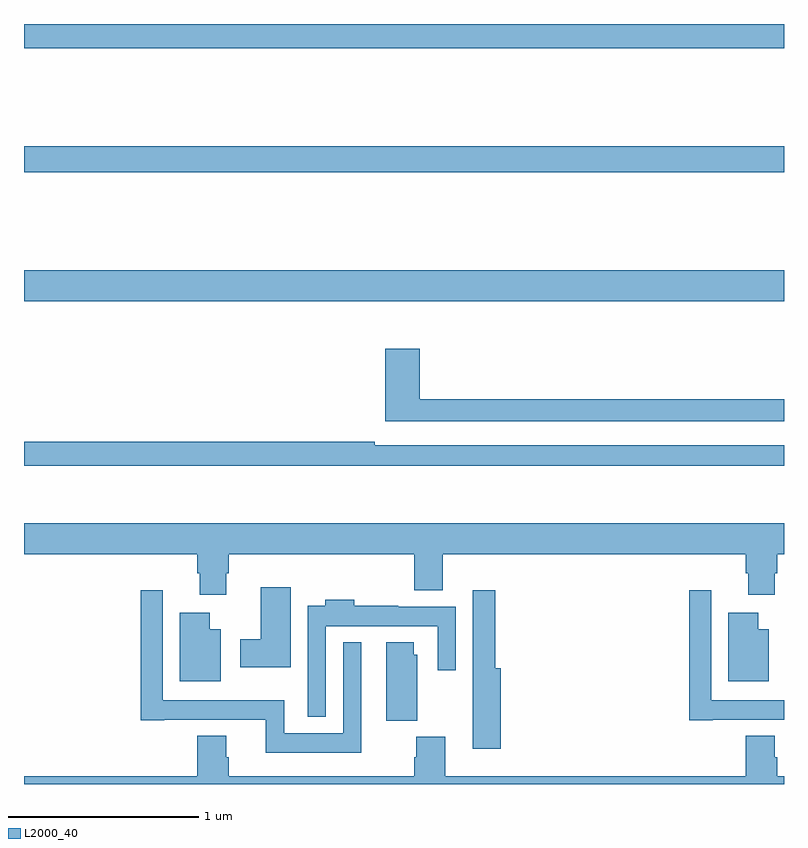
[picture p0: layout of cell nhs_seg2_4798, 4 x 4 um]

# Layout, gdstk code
import gdstk
lib = gdstk.Library(unit=1e-6, precision=1e-09)
def R(c, l, rs):  # rectangles x0, y0, x1, y1
    for r in rs: c.add(gdstk.rectangle(r[:2], r[2:], *l))
def P(c, l, *ps):  # polygons
    for p in ps: c.add(gdstk.Polygon(p, *l))
L2000_40 = (2000, 40)

nhs_seg2_4798 = lib.new_cell('nhs_seg2_4798')
R(nhs_seg2_4798, L2000_40, [(373,610.34,377,610.504), (373,611.02,377,611.156), (373,611.672,377,611.8)])
P(nhs_seg2_4798, L2000_40, [(377,609.824),(375.083,609.824),(375.083,610.09),(374.9,610.09),(374.9,609.708),(377,609.708)],
  [(377,609.582),(374.846,609.582),(374.846,609.602),(373,609.602),(373,609.474),(377,609.474)],
  [(374.065,608.91),(374.078,608.91),(374.078,609.008),(375.053,609.008),(375.053,608.819),(375.205,608.819),(375.205,609.008),(376.799,609.008),(376.799,608.91),(376.811,608.91),(376.811,608.796),(376.951,608.796),(376.951,608.91),(376.964,608.91),(376.964,609.008),(377,609.008),(377,609.172),(373,609.172),(373,609.008),(373.913,609.008),(373.913,608.91),(373.925,608.91),(373.925,608.796),(374.065,608.796)],
  [(374.404,608.836),(374.246,608.836),(374.246,608.562),(374.139,608.562),(374.139,608.414),(374.404,608.414)],
  [(374.776,608.545),(374.679,608.545),(374.679,608.068),(374.37,608.068),(374.37,608.242),(373.731,608.242),(373.731,608.821),(373.615,608.821),(373.615,608.136),(373.738,608.136),(373.738,608.138),(374.273,608.138),(374.273,607.964),(374.776,607.964)],
  [(375.509,608.41),(375.479,608.41),(375.479,608.821),(375.363,608.821),(375.363,608.306),(375.362,608.306),(375.362,607.986),(375.509,607.986)],
  [(376.624,608.138),(377,608.138),(377,608.242),(376.617,608.242),(376.617,608.821),(376.501,608.821),(376.501,608.136),(376.624,608.136)],
  [(374.589,608.63),(375.177,608.63),(375.177,608.4),(375.273,608.4),(375.273,608.734),(374.969,608.734),(374.969,608.737),(374.738,608.737),(374.738,608.77),(374.585,608.77),(374.585,608.737),(374.493,608.737),(374.493,608.153),(374.589,608.153)],
  [(374.035,608.614),(373.978,608.614),(373.978,608.701),(373.82,608.701),(373.82,608.342),(374.035,608.342)],
  [(376.921,608.614),(376.864,608.614),(376.864,608.701),(376.706,608.701),(376.706,608.342),(376.921,608.342)],
  [(375.07,608.481),(375.052,608.481),(375.052,608.545),(374.906,608.545),(374.906,608.134),(375.07,608.134)],
  [(377,607.84),(376.964,607.84),(376.964,607.941),(376.951,607.941),(376.951,608.053),(376.799,608.053),(376.799,607.84),(375.218,607.84),(375.218,608.049),(375.065,608.049),(375.065,607.94),(375.053,607.94),(375.053,607.84),(374.078,607.84),(374.078,607.941),(374.065,607.941),(374.065,608.053),(373.913,608.053),(373.913,607.84),(373,607.84),(373,607.8),(377,607.8)])

lib.write_gds('nhs_seg2_4798.gds')
